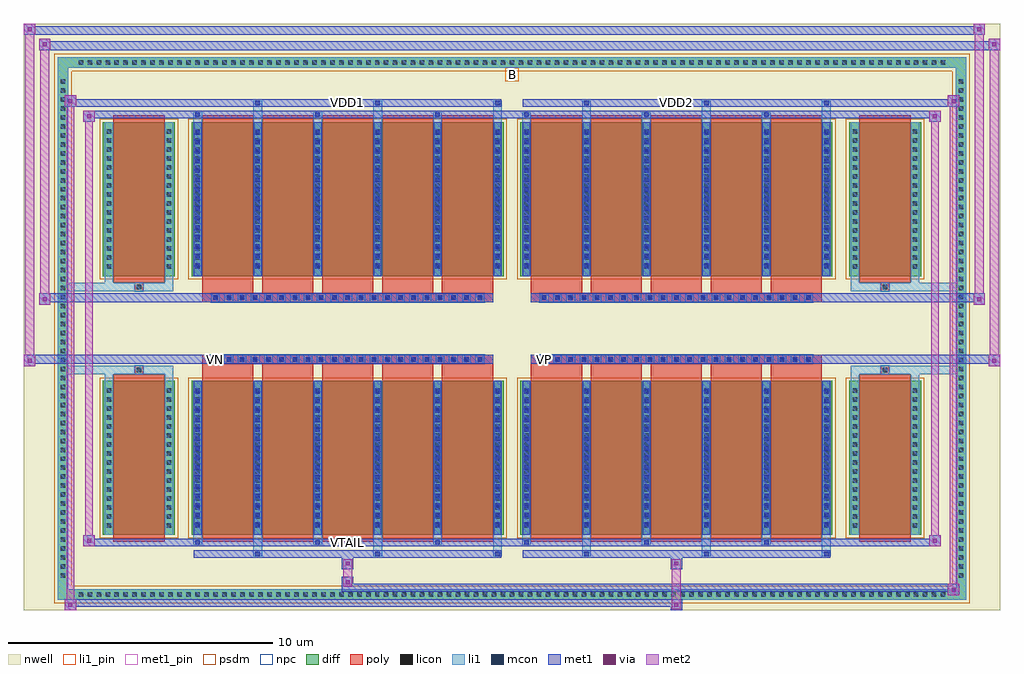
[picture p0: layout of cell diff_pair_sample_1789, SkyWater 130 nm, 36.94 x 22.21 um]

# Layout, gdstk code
import gdstk
lib = gdstk.Library(unit=1e-6, precision=5e-09)
def R(c, l, rs):  # rectangles x0, y0, x1, y1
    for r in rs: c.add(gdstk.rectangle(r[:2], r[2:], *l))
def A(c, l, x, y, w, h, nx, ny, dx, dy):  # array of equal rectangles
    R(c, l, [(x+i*dx, y+j*dy, x+i*dx+w, y+j*dy+h) for i in range(nx) for j in range(ny)])
def P(c, l, *ps):  # polygons
    for p in ps: c.add(gdstk.Polygon(p, *l))
nwell = (64, 20)
diff = (65, 20)
poly = (66, 20)
licon = (66, 44)
li1_pin = (67, 16)
li1 = (67, 20)
mcon = (67, 44)
met1_pin = (68, 16)
met1 = (68, 20)
via = (68, 44)
met2 = (69, 20)
psdm = (94, 20)
npc = (95, 20)

diff_pair_sample_1789 = lib.new_cell('diff_pair_sample_1789')
R(diff_pair_sample_1789, nwell, [(-18.47,-10.67,18.47,11.54), (-15.79,-8.86,-0.01,-0.8), (0.01,-8.86,15.79,-0.8), (-15.79,0.8,-0.01,8.86), (0.01,0.8,15.79,8.86)])
A(diff_pair_sample_1789, diff, -16.525, -10.27, 0.41, 0.41, 97, 2, 0.34, 20.13)
A(diff_pair_sample_1789, diff, -17.2, -9.555, 0.41, 0.41, 1, 56, 0, 0.34)
A(diff_pair_sample_1789, diff, 16.79, -9.555, 0.41, 0.41, 1, 56, 0, 0.34)
R(diff_pair_sample_1789, diff, [(-16.525,-10.27,16.525,-9.86), (-17.2,-9.555,-16.79,9.555), (16.79,-9.555,17.2,9.555), (-15.48,-7.815,-12.76,-1.985), (-12.12,-7.815,-0.32,-1.985), (0.32,-7.815,12.12,-1.985), (12.76,-7.815,15.48,-1.985), (-15.48,1.985,-12.76,7.815), (-12.12,1.985,-0.32,7.815), (0.32,1.985,12.12,7.815), (12.76,1.985,15.48,7.815), (-16.525,9.86,16.525,10.27)])
P(diff_pair_sample_1789, diff, [(17.2,10.27),(-17.2,10.27),(-17.2,-9.86),(-16.79,-9.86),(-16.79,9.86),(16.79,9.86),(16.79,-9.86),(-16.79,-9.86),(-17.2,-9.86),(-17.2,-10.27),(17.2,-10.27)])
A(diff_pair_sample_1789, poly, -11.73, -8.065, 1.94, 6.33, 5, 2, 2.27, 9.8)
A(diff_pair_sample_1789, poly, 0.71, -8.065, 1.94, 6.33, 5, 2, 2.27, 9.8)
A(diff_pair_sample_1789, poly, -11.73, -1.735, 1.94, 0.405, 5, 2, 2.27, 3.065)
A(diff_pair_sample_1789, poly, 0.71, -1.735, 1.94, 0.405, 5, 2, 2.27, 3.065)
A(diff_pair_sample_1789, poly, -11.385, -1.33, 0.33, 0.33, 21, 2, 0.5, 2.33)
A(diff_pair_sample_1789, poly, 1.055, -1.33, 0.33, 0.33, 21, 2, 0.5, 2.33)
R(diff_pair_sample_1789, poly, [(-15.09,-8.065,-13.15,-1.735), (13.15,-8.065,15.09,-1.735), (-14.285,-1.735,-13.955,-1.405), (-14.285,-1.735,-13.955,-1.405), (13.955,-1.735,14.285,-1.405), (13.955,-1.735,14.285,-1.405), (-11.73,-1.33,-0.71,-1), (0.71,-1.33,11.73,-1), (-11.73,1,-0.71,1.33), (0.71,1,11.73,1.33), (-14.285,1.405,-13.955,1.735), (-14.285,1.405,-13.955,1.735), (13.955,1.405,14.285,1.735), (13.955,1.405,14.285,1.735), (-15.09,1.735,-13.15,8.065), (13.15,1.735,15.09,8.065)])
A(diff_pair_sample_1789, licon, -16.405, -10.15, 0.17, 0.17, 97, 2, 0.34, 20.13)
A(diff_pair_sample_1789, licon, -17.08, -9.435, 0.17, 0.17, 1, 56, 0, 0.34)
A(diff_pair_sample_1789, licon, 16.91, -9.435, 0.17, 0.17, 1, 56, 0, 0.34)
A(diff_pair_sample_1789, licon, -15.34, -7.535, 0.17, 0.17, 1, 16, 0, 0.34)
A(diff_pair_sample_1789, licon, -13.07, -7.535, 0.17, 0.17, 1, 16, 0, 0.34)
A(diff_pair_sample_1789, licon, -11.98, -7.535, 0.17, 0.17, 6, 16, 2.27, 0.34)
A(diff_pair_sample_1789, licon, 0.46, -7.535, 0.17, 0.17, 6, 16, 2.27, 0.34)
A(diff_pair_sample_1789, licon, 12.9, -7.535, 0.17, 0.17, 1, 16, 0, 0.34)
A(diff_pair_sample_1789, licon, 15.17, -7.535, 0.17, 0.17, 1, 16, 0, 0.34)
A(diff_pair_sample_1789, licon, -11.305, -1.25, 0.17, 0.17, 21, 2, 0.5, 2.33)
A(diff_pair_sample_1789, licon, 1.135, -1.25, 0.17, 0.17, 21, 2, 0.5, 2.33)
A(diff_pair_sample_1789, licon, -15.34, 2.265, 0.17, 0.17, 1, 16, 0, 0.34)
A(diff_pair_sample_1789, licon, -13.07, 2.265, 0.17, 0.17, 1, 16, 0, 0.34)
A(diff_pair_sample_1789, licon, -11.98, 2.265, 0.17, 0.17, 6, 16, 2.27, 0.34)
A(diff_pair_sample_1789, licon, 0.46, 2.265, 0.17, 0.17, 6, 16, 2.27, 0.34)
A(diff_pair_sample_1789, licon, 12.9, 2.265, 0.17, 0.17, 1, 16, 0, 0.34)
A(diff_pair_sample_1789, licon, 15.17, 2.265, 0.17, 0.17, 1, 16, 0, 0.34)
R(diff_pair_sample_1789, licon, [(-14.205,-1.655,-14.035,-1.485), (14.035,-1.655,14.205,-1.485), (-14.205,1.485,-14.035,1.655), (14.035,1.485,14.205,1.655)])
R(diff_pair_sample_1789, li1_pin, [(-0.25,9.36,0.25,9.86)])
A(diff_pair_sample_1789, li1, -16.485, -10.23, 0.33, 0.33, 97, 2, 0.34, 20.13)
A(diff_pair_sample_1789, li1, -17.16, -9.515, 0.33, 0.33, 1, 56, 0, 0.34)
A(diff_pair_sample_1789, li1, 16.83, -9.515, 0.33, 0.33, 1, 56, 0, 0.34)
A(diff_pair_sample_1789, li1, -9.79, -8.62, 0.33, 0.805, 3, 2, 4.54, 16.435)
A(diff_pair_sample_1789, li1, -9.71, -8.62, 0.17, 0.17, 3, 2, 4.54, 17.07)
A(diff_pair_sample_1789, li1, 2.65, -8.62, 0.33, 0.805, 3, 2, 4.54, 16.435)
A(diff_pair_sample_1789, li1, 2.73, -8.62, 0.17, 0.17, 3, 2, 4.54, 17.07)
A(diff_pair_sample_1789, li1, -12.06, -8.19, 0.33, 0.375, 3, 2, 4.54, 16.005)
A(diff_pair_sample_1789, li1, -11.98, -8.19, 0.17, 0.17, 3, 2, 4.54, 16.21)
A(diff_pair_sample_1789, li1, 0.38, -8.19, 0.33, 0.375, 3, 2, 4.54, 16.005)
A(diff_pair_sample_1789, li1, 0.46, -8.19, 0.17, 0.17, 3, 2, 4.54, 16.21)
A(diff_pair_sample_1789, li1, -12.06, -7.815, 0.33, 5.83, 6, 2, 2.27, 9.8)
A(diff_pair_sample_1789, li1, 0.38, -7.815, 0.33, 5.83, 6, 2, 2.27, 9.8)
A(diff_pair_sample_1789, li1, -15.42, -7.615, 0.33, 0.33, 1, 16, 0, 0.34)
A(diff_pair_sample_1789, li1, -13.15, -7.615, 0.33, 0.33, 1, 16, 0, 0.34)
A(diff_pair_sample_1789, li1, -12.06, -7.615, 0.33, 0.33, 6, 16, 2.27, 0.34)
A(diff_pair_sample_1789, li1, 0.38, -7.615, 0.33, 0.33, 6, 16, 2.27, 0.34)
A(diff_pair_sample_1789, li1, 12.82, -7.615, 0.33, 0.33, 1, 16, 0, 0.34)
A(diff_pair_sample_1789, li1, 15.09, -7.615, 0.33, 0.33, 1, 16, 0, 0.34)
A(diff_pair_sample_1789, li1, -11.98, -7.505, 0.17, 0.17, 6, 15, 2.27, 0.36)
A(diff_pair_sample_1789, li1, -11.98, -7.505, 0.17, 5.21, 6, 2, 2.27, 9.8)
A(diff_pair_sample_1789, li1, 0.46, -7.505, 0.17, 0.17, 6, 15, 2.27, 0.36)
A(diff_pair_sample_1789, li1, 0.46, -7.505, 0.17, 5.21, 6, 2, 2.27, 9.8)
A(diff_pair_sample_1789, li1, -11.385, -1.33, 0.33, 0.33, 21, 2, 0.5, 2.33)
A(diff_pair_sample_1789, li1, 1.055, -1.33, 0.33, 0.33, 21, 2, 0.5, 2.33)
A(diff_pair_sample_1789, li1, -15.42, 2.185, 0.33, 0.33, 1, 16, 0, 0.34)
A(diff_pair_sample_1789, li1, -13.15, 2.185, 0.33, 0.33, 1, 16, 0, 0.34)
A(diff_pair_sample_1789, li1, -12.06, 2.185, 0.33, 0.33, 6, 16, 2.27, 0.34)
A(diff_pair_sample_1789, li1, 0.38, 2.185, 0.33, 0.33, 6, 16, 2.27, 0.34)
A(diff_pair_sample_1789, li1, 12.82, 2.185, 0.33, 0.33, 1, 16, 0, 0.34)
A(diff_pair_sample_1789, li1, 15.09, 2.185, 0.33, 0.33, 1, 16, 0, 0.34)
A(diff_pair_sample_1789, li1, -11.98, 2.295, 0.17, 0.17, 6, 15, 2.27, 0.36)
A(diff_pair_sample_1789, li1, 0.46, 2.295, 0.17, 0.17, 6, 15, 2.27, 0.36)
R(diff_pair_sample_1789, li1, [(-17.2,-10.27,-16.79,-9.86), (-17.2,-10.27,-16.79,-9.86), (-16.79,-10.27,16.79,-9.86), (16.79,-10.27,17.2,-9.86), (16.79,-10.27,17.2,-9.86), (-17.2,-9.86,-16.79,9.86), (16.79,-9.86,17.2,9.86), (-15.42,-7.815,-15.09,-1.985), (-13.15,-7.815,-12.82,-1.985), (12.82,-7.815,13.15,-1.985), (15.09,-7.815,15.42,-1.985), (-15.42,-1.985,-15.09,-1.405), (-13.15,-1.985,-12.82,-1.405), (12.82,-1.985,13.15,-1.405), (15.09,-1.985,15.42,-1.405), (-17.2,-1.735,-14.285,-1.405), (-15.42,-1.735,-14.285,-1.405), (-14.285,-1.735,-13.955,-1.405), (-13.955,-1.735,-12.82,-1.405), (12.82,-1.735,13.955,-1.405), (13.955,-1.735,14.285,-1.405), (13.955,-1.735,17.2,-1.405), (14.285,-1.735,15.42,-1.405), (-17.2,1.405,-14.285,1.735), (-15.42,1.405,-14.285,1.735), (-15.42,1.405,-15.09,1.985), (-14.285,1.405,-13.955,1.735), (-13.955,1.405,-12.82,1.735), (-13.15,1.405,-12.82,1.985), (12.82,1.405,13.955,1.735), (12.82,1.405,13.15,1.985), (13.955,1.405,14.285,1.735), (13.955,1.405,17.2,1.735), (14.285,1.405,15.42,1.735), (15.09,1.405,15.42,1.985), (-15.42,1.985,-15.09,7.815), (-13.15,1.985,-12.82,7.815), (12.82,1.985,13.15,7.815), (15.09,1.985,15.42,7.815), (-17.2,9.86,-16.79,10.27), (-17.2,9.86,-16.79,10.27), (-16.79,9.86,16.79,10.27), (16.79,9.86,17.2,10.27), (16.79,9.86,17.2,10.27)])
A(diff_pair_sample_1789, mcon, -9.71, -8.62, 0.17, 0.17, 3, 2, 4.54, 17.07)
A(diff_pair_sample_1789, mcon, 2.73, -8.62, 0.17, 0.17, 3, 2, 4.54, 17.07)
A(diff_pair_sample_1789, mcon, -11.98, -8.19, 0.17, 0.17, 3, 2, 4.54, 16.21)
A(diff_pair_sample_1789, mcon, 0.46, -8.19, 0.17, 0.17, 3, 2, 4.54, 16.21)
A(diff_pair_sample_1789, mcon, -11.98, -7.505, 0.17, 0.17, 6, 15, 2.27, 0.36)
A(diff_pair_sample_1789, mcon, 0.46, -7.505, 0.17, 0.17, 6, 15, 2.27, 0.36)
A(diff_pair_sample_1789, mcon, -11.305, -1.25, 0.17, 0.17, 21, 2, 0.5, 2.33)
A(diff_pair_sample_1789, mcon, 1.135, -1.25, 0.17, 0.17, 21, 2, 0.5, 2.33)
A(diff_pair_sample_1789, mcon, -11.98, 2.295, 0.17, 0.17, 6, 15, 2.27, 0.36)
A(diff_pair_sample_1789, mcon, 0.46, 2.295, 0.17, 0.17, 6, 15, 2.27, 0.36)
R(diff_pair_sample_1789, met1_pin, [(-6.355,-8.23,-6.085,-7.96), (-11.355,-1.29,-11.085,-1.02), (1.085,-1.29,1.355,-1.02), (-6.355,8.41,-6.085,8.68), (6.085,8.41,6.355,8.68)])
A(diff_pair_sample_1789, met1, -9.77, -8.68, 0.29, 0.29, 3, 2, 4.54, 17.07)
A(diff_pair_sample_1789, met1, 2.67, -8.68, 0.29, 0.29, 3, 2, 4.54, 17.07)
A(diff_pair_sample_1789, met1, -12.04, -8.25, 0.29, 0.29, 3, 2, 4.54, 16.21)
A(diff_pair_sample_1789, met1, 0.4, -8.25, 0.29, 0.29, 3, 2, 4.54, 16.21)
A(diff_pair_sample_1789, met1, -12.04, -7.815, 0.29, 5.83, 6, 2, 2.27, 9.8)
A(diff_pair_sample_1789, met1, 0.4, -7.815, 0.29, 5.83, 6, 2, 2.27, 9.8)
A(diff_pair_sample_1789, met1, -12.04, -7.565, 0.29, 0.29, 6, 15, 2.27, 0.36)
A(diff_pair_sample_1789, met1, 0.4, -7.565, 0.29, 0.29, 6, 15, 2.27, 0.36)
A(diff_pair_sample_1789, met1, -11.365, -1.31, 0.29, 0.29, 21, 2, 0.5, 2.33)
A(diff_pair_sample_1789, met1, 1.075, -1.31, 0.29, 0.29, 21, 2, 0.5, 2.33)
A(diff_pair_sample_1789, met1, -12.04, 2.235, 0.29, 0.29, 6, 15, 2.27, 0.36)
A(diff_pair_sample_1789, met1, 0.4, 2.235, 0.29, 0.29, 6, 15, 2.27, 0.36)
R(diff_pair_sample_1789, met1, [(-16.93,-10.67,-16.5,-10.24), (6.005,-10.67,6.435,-10.24), (-16.93,-10.53,6.435,-10.24), (16.5,-10.1,16.93,-9.67), (-6.435,-9.96,16.93,-9.67), (-6.435,-9.82,-6.005,-9.39), (-6.435,-9.11,-6.005,-8.68), (6.005,-9.11,6.435,-8.68), (-12.04,-8.68,-0.4,-8.39), (0.4,-8.68,12.04,-8.39), (-16.22,-8.25,-15.79,-7.82), (-16.22,-8.25,-12.04,-7.96), (-12.04,-8.25,-0.4,-7.96), (-0.4,-8.25,0.4,-7.96), (0.4,-8.25,12.04,-7.96), (12.04,-8.25,16.22,-7.96), (15.79,-8.25,16.22,-7.82), (-18.47,-1.43,-18.04,-1), (18.04,-1.43,18.47,-1), (-18.47,-1.33,-0.71,-1), (-11.73,-1.33,-0.71,-1), (0.71,-1.33,11.73,-1), (0.71,-1.33,18.47,-1), (-17.9,0.9,-17.47,1.33), (17.47,0.9,17.9,1.33), (-17.9,1,-11.73,1.33), (-11.73,1,-0.71,1.33), (0.71,1,11.73,1.33), (11.73,1,17.9,1.33), (-16.22,7.82,-15.79,8.25), (15.79,7.82,16.22,8.25), (-16.22,7.96,-12.04,8.25), (-12.04,7.96,-0.4,8.25), (-0.4,7.96,0.4,8.25), (0.4,7.96,12.04,8.25), (12.04,7.96,16.22,8.25), (-16.93,8.39,-16.5,8.82), (-16.93,8.39,-12.04,8.68), (-12.04,8.39,-0.4,8.68), (0.4,8.39,12.04,8.68), (12.04,8.39,16.93,8.68), (16.5,8.39,16.93,8.82), (-17.9,10.54,-17.47,10.97), (-17.9,10.54,-15.79,10.87), (-15.79,10.54,15.79,10.87), (15.79,10.54,18.47,10.87), (18.04,10.54,18.47,10.97), (-18.47,11.11,-18.04,11.54), (-18.47,11.11,-15.79,11.44), (-15.79,11.11,15.79,11.44), (15.79,11.11,17.9,11.44), (17.47,11.11,17.9,11.54)])
R(diff_pair_sample_1789, via, [(-16.79,-10.53,-16.64,-10.38), (6.145,-10.53,6.295,-10.38), (16.64,-9.96,16.79,-9.81), (-6.295,-9.68,-6.145,-9.53), (-6.295,-8.97,-6.145,-8.82), (6.145,-8.97,6.295,-8.82), (-16.08,-8.11,-15.93,-7.96), (15.93,-8.11,16.08,-7.96), (-18.33,-1.29,-18.18,-1.14), (18.18,-1.29,18.33,-1.14), (-17.76,1.04,-17.61,1.19), (17.61,1.04,17.76,1.19), (-16.08,7.96,-15.93,8.11), (15.93,7.96,16.08,8.11), (-16.79,8.53,-16.64,8.68), (16.64,8.53,16.79,8.68), (-17.76,10.68,-17.61,10.83), (18.18,10.68,18.33,10.83), (-18.33,11.25,-18.18,11.4), (17.61,11.25,17.76,11.4)])
R(diff_pair_sample_1789, met2, [(-16.93,-10.67,-16.5,-10.24), (-16.86,-10.67,-16.57,8.82), (-16.57,-10.67,-16.5,-10.24), (-16.88,-10.62,-16.55,-10.29), (6.055,-10.62,6.385,-10.29), (6.055,-10.29,6.385,-9.06), (16.5,-10.1,16.93,-9.67), (16.57,-10.1,16.86,8.82), (16.86,-10.1,16.93,-9.67), (16.55,-10.05,16.88,-9.72), (-6.385,-9.77,-6.055,-9.44), (-6.385,-9.44,-6.055,-9.06), (-6.385,-9.06,-6.055,-8.73), (6.055,-9.06,6.385,-8.73), (-16.22,-8.25,-15.79,-7.82), (-16.15,-8.25,-15.86,8.25), (-15.86,-8.25,-15.79,-7.82), (15.79,-8.25,16.22,-7.82), (15.86,-8.25,16.15,8.25), (16.15,-8.25,16.22,-7.82), (-16.17,-8.2,-15.84,-7.87), (15.84,-8.2,16.17,-7.87), (-18.47,-1.43,-18.04,-1), (-18.42,-1.43,-18.09,11.54), (-18.09,-1.43,-18.04,-1), (18.04,-1.43,18.47,-1), (18.09,-1.43,18.42,10.97), (18.42,-1.43,18.47,-1), (-18.42,-1.38,-18.09,-1.05), (18.09,-1.38,18.42,-1.05), (-17.9,0.9,-17.47,1.33), (-17.85,0.9,-17.52,10.97), (-17.52,0.9,-17.47,1.33), (17.47,0.9,17.9,1.33), (17.52,0.9,17.85,11.54), (17.85,0.9,17.9,1.33), (-17.85,0.95,-17.52,1.28), (17.52,0.95,17.85,1.28), (-16.22,7.82,-15.79,8.25), (-15.86,7.82,-15.79,8.25), (15.79,7.82,16.22,8.25), (16.15,7.82,16.22,8.25), (-16.17,7.87,-15.84,8.2), (15.84,7.87,16.17,8.2), (-16.93,8.39,-16.5,8.82), (-16.57,8.39,-16.5,8.82), (16.5,8.39,16.93,8.82), (16.86,8.39,16.93,8.82), (-16.88,8.44,-16.55,8.77), (16.55,8.44,16.88,8.77), (-17.9,10.54,-17.47,10.97), (-17.52,10.54,-17.47,10.97), (18.04,10.54,18.47,10.97), (18.42,10.54,18.47,10.97), (-17.85,10.59,-17.52,10.92), (18.09,10.59,18.42,10.92), (-18.47,11.11,-18.04,11.54), (-18.09,11.11,-18.04,11.54), (17.47,11.11,17.9,11.54), (17.85,11.11,17.9,11.54), (-18.42,11.16,-18.09,11.49), (17.52,11.16,17.85,11.49)])
R(diff_pair_sample_1789, psdm, [(-15.61,-7.945,-12.63,-1.855), (-12.25,-7.945,-0.19,-1.855), (0.19,-7.945,12.25,-1.855), (12.63,-7.945,15.61,-1.855), (-15.61,1.855,-12.63,7.945), (-12.25,1.855,-0.19,7.945), (0.19,1.855,12.25,7.945), (12.63,1.855,15.61,7.945)])
P(diff_pair_sample_1789, psdm, [(17.33,10.4),(-17.33,10.4),(-17.33,-9.73),(-16.66,-9.73),(-16.66,9.73),(16.66,9.73),(16.66,-9.73),(-16.66,-9.73),(-17.33,-9.73),(-17.33,-10.4),(17.33,-10.4)])
A(diff_pair_sample_1789, npc, -11.405, -1.35, 0.37, 0.37, 21, 2, 0.5, 2.33)
A(diff_pair_sample_1789, npc, 1.035, -1.35, 0.37, 0.37, 21, 2, 0.5, 2.33)
R(diff_pair_sample_1789, npc, [(-14.305,-1.755,-13.935,-1.385), (13.935,-1.755,14.305,-1.385), (-11.405,-1.35,-10.535,-0.98), (-11.405,-1.35,-10.535,-0.98), (-10.905,-1.35,-10.035,-0.98), (-10.905,-1.35,-10.035,-0.98), (-10.405,-1.35,-9.535,-0.98), (-10.405,-1.35,-9.535,-0.98), (-9.905,-1.35,-9.035,-0.98), (-9.905,-1.35,-9.035,-0.98), (-9.405,-1.35,-8.535,-0.98), (-9.405,-1.35,-8.535,-0.98), (-8.905,-1.35,-8.035,-0.98), (-8.905,-1.35,-8.035,-0.98), (-8.405,-1.35,-7.535,-0.98), (-8.405,-1.35,-7.535,-0.98), (-7.905,-1.35,-7.035,-0.98), (-7.905,-1.35,-7.035,-0.98), (-7.405,-1.35,-6.535,-0.98), (-7.405,-1.35,-6.535,-0.98), (-6.905,-1.35,-6.035,-0.98), (-6.905,-1.35,-6.035,-0.98), (-6.405,-1.35,-5.535,-0.98), (-6.405,-1.35,-5.535,-0.98), (-5.905,-1.35,-5.035,-0.98), (-5.905,-1.35,-5.035,-0.98), (-5.405,-1.35,-4.535,-0.98), (-5.405,-1.35,-4.535,-0.98), (-4.905,-1.35,-4.035,-0.98), (-4.905,-1.35,-4.035,-0.98), (-4.405,-1.35,-3.535,-0.98), (-4.405,-1.35,-3.535,-0.98), (-3.905,-1.35,-3.035,-0.98), (-3.905,-1.35,-3.035,-0.98), (-3.405,-1.35,-2.535,-0.98), (-3.405,-1.35,-2.535,-0.98), (-2.905,-1.35,-2.035,-0.98), (-2.905,-1.35,-2.035,-0.98), (-2.405,-1.35,-1.535,-0.98), (-2.405,-1.35,-1.535,-0.98), (-1.905,-1.35,-1.035,-0.98), (-1.905,-1.35,-1.035,-0.98), (1.035,-1.35,1.905,-0.98), (1.035,-1.35,1.905,-0.98), (1.535,-1.35,2.405,-0.98), (1.535,-1.35,2.405,-0.98), (2.035,-1.35,2.905,-0.98), (2.035,-1.35,2.905,-0.98), (2.535,-1.35,3.405,-0.98), (2.535,-1.35,3.405,-0.98), (3.035,-1.35,3.905,-0.98), (3.035,-1.35,3.905,-0.98), (3.535,-1.35,4.405,-0.98), (3.535,-1.35,4.405,-0.98), (4.035,-1.35,4.905,-0.98), (4.035,-1.35,4.905,-0.98), (4.535,-1.35,5.405,-0.98), (4.535,-1.35,5.405,-0.98), (5.035,-1.35,5.905,-0.98), (5.035,-1.35,5.905,-0.98), (5.535,-1.35,6.405,-0.98), (5.535,-1.35,6.405,-0.98), (6.035,-1.35,6.905,-0.98), (6.035,-1.35,6.905,-0.98), (6.535,-1.35,7.405,-0.98), (6.535,-1.35,7.405,-0.98), (7.035,-1.35,7.905,-0.98), (7.035,-1.35,7.905,-0.98), (7.535,-1.35,8.405,-0.98), (7.535,-1.35,8.405,-0.98), (8.035,-1.35,8.905,-0.98), (8.035,-1.35,8.905,-0.98), (8.535,-1.35,9.405,-0.98), (8.535,-1.35,9.405,-0.98), (9.035,-1.35,9.905,-0.98), (9.035,-1.35,9.905,-0.98), (9.535,-1.35,10.405,-0.98), (9.535,-1.35,10.405,-0.98), (10.035,-1.35,10.905,-0.98), (10.035,-1.35,10.905,-0.98), (10.535,-1.35,11.405,-0.98), (10.535,-1.35,11.405,-0.98), (-11.405,0.98,-10.535,1.35), (-11.405,0.98,-10.535,1.35), (-10.905,0.98,-10.035,1.35), (-10.905,0.98,-10.035,1.35), (-10.405,0.98,-9.535,1.35), (-10.405,0.98,-9.535,1.35), (-9.905,0.98,-9.035,1.35), (-9.905,0.98,-9.035,1.35), (-9.405,0.98,-8.535,1.35), (-9.405,0.98,-8.535,1.35), (-8.905,0.98,-8.035,1.35), (-8.905,0.98,-8.035,1.35), (-8.405,0.98,-7.535,1.35), (-8.405,0.98,-7.535,1.35), (-7.905,0.98,-7.035,1.35), (-7.905,0.98,-7.035,1.35), (-7.405,0.98,-6.535,1.35), (-7.405,0.98,-6.535,1.35), (-6.905,0.98,-6.035,1.35), (-6.905,0.98,-6.035,1.35), (-6.405,0.98,-5.535,1.35), (-6.405,0.98,-5.535,1.35), (-5.905,0.98,-5.035,1.35), (-5.905,0.98,-5.035,1.35), (-5.405,0.98,-4.535,1.35), (-5.405,0.98,-4.535,1.35), (-4.905,0.98,-4.035,1.35), (-4.905,0.98,-4.035,1.35), (-4.405,0.98,-3.535,1.35), (-4.405,0.98,-3.535,1.35), (-3.905,0.98,-3.035,1.35), (-3.905,0.98,-3.035,1.35), (-3.405,0.98,-2.535,1.35), (-3.405,0.98,-2.535,1.35), (-2.905,0.98,-2.035,1.35), (-2.905,0.98,-2.035,1.35), (-2.405,0.98,-1.535,1.35), (-2.405,0.98,-1.535,1.35), (-1.905,0.98,-1.035,1.35), (-1.905,0.98,-1.035,1.35), (1.035,0.98,1.905,1.35), (1.035,0.98,1.905,1.35), (1.535,0.98,2.405,1.35), (1.535,0.98,2.405,1.35), (2.035,0.98,2.905,1.35), (2.035,0.98,2.905,1.35), (2.535,0.98,3.405,1.35), (2.535,0.98,3.405,1.35), (3.035,0.98,3.905,1.35), (3.035,0.98,3.905,1.35), (3.535,0.98,4.405,1.35), (3.535,0.98,4.405,1.35), (4.035,0.98,4.905,1.35), (4.035,0.98,4.905,1.35), (4.535,0.98,5.405,1.35), (4.535,0.98,5.405,1.35), (5.035,0.98,5.905,1.35), (5.035,0.98,5.905,1.35), (5.535,0.98,6.405,1.35), (5.535,0.98,6.405,1.35), (6.035,0.98,6.905,1.35), (6.035,0.98,6.905,1.35), (6.535,0.98,7.405,1.35), (6.535,0.98,7.405,1.35), (7.035,0.98,7.905,1.35), (7.035,0.98,7.905,1.35), (7.535,0.98,8.405,1.35), (7.535,0.98,8.405,1.35), (8.035,0.98,8.905,1.35), (8.035,0.98,8.905,1.35), (8.535,0.98,9.405,1.35), (8.535,0.98,9.405,1.35), (9.035,0.98,9.905,1.35), (9.035,0.98,9.905,1.35), (9.535,0.98,10.405,1.35), (9.535,0.98,10.405,1.35), (10.035,0.98,10.905,1.35), (10.035,0.98,10.905,1.35), (10.535,0.98,11.405,1.35), (10.535,0.98,11.405,1.35), (-14.305,1.385,-13.935,1.755), (13.935,1.385,14.305,1.755)])
diff_pair_sample_1789.add(gdstk.Label('VTAIL', (-6.22,-8.095), layer=68, texttype=5))
diff_pair_sample_1789.add(gdstk.Label('VN', (-11.22,-1.155), layer=68, texttype=5))
diff_pair_sample_1789.add(gdstk.Label('VP', (1.22,-1.155), layer=68, texttype=5))
diff_pair_sample_1789.add(gdstk.Label('B', (0,9.61), layer=67, texttype=5))
diff_pair_sample_1789.add(gdstk.Label('VDD2', (6.22,8.545), layer=68, texttype=5))
diff_pair_sample_1789.add(gdstk.Label('VDD1', (-6.22,8.545), layer=68, texttype=5))

lib.write_gds('diff_pair_sample_1789.gds')
